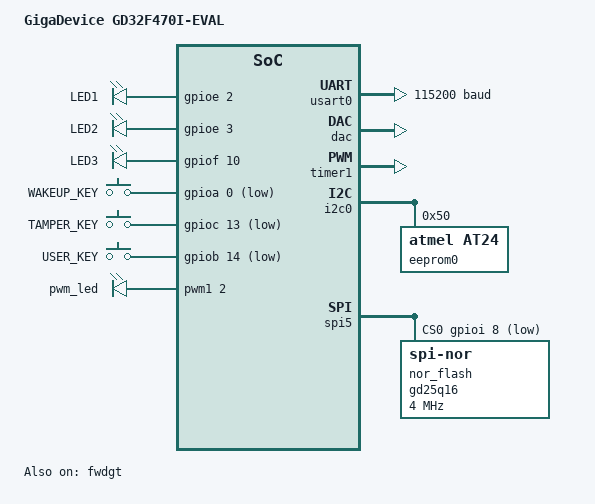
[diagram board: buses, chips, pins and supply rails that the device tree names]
/*
 * Copyright (c) 2022, Rtone.
 * SPDX-License-Identifier: Apache-2.0
 */

/dts-v1/;

#include <gd/gd32f4xx/gd32f470ik.dtsi>
#include "gd32f470i_eval-pinctrl.dtsi"
#include <zephyr/dt-bindings/input/input-event-codes.h>

/ {
	model = "GigaDevice GD32F470I-EVAL";
	compatible = "gd,gd32f470i-eval";

	chosen {
		zephyr,sram = &sram0;
		zephyr,flash = &flash0;
		zephyr,console = &usart0;
		zephyr,shell-uart = &usart0;
		zephyr,flash-controller = &fmc;
	};

	leds {
		compatible = "gpio-leds";
		led1: led1 {
			gpios = <&gpioe 2 GPIO_ACTIVE_HIGH>;
			label = "LED1";
		};
		led2: led2 {
			gpios = <&gpioe 3 GPIO_ACTIVE_HIGH>;
			label = "LED2";
		};
		led3: led3 {
			gpios = <&gpiof 10 GPIO_ACTIVE_HIGH>;
			label = "LED3";
		};
	};

	gpio_keys {
		compatible = "gpio-keys";
		wakeup_key: wakeup_key {
			label = "WAKEUP_KEY";
			gpios = <&gpioa 0 GPIO_ACTIVE_LOW>;
			zephyr,code = <INPUT_KEY_WAKEUP>;
		};
		tamper_key: tamper_key {
			label = "TAMPER_KEY";
			gpios = <&gpioc 13 GPIO_ACTIVE_LOW>;
			zephyr,code = <INPUT_KEY_0>;
		};
		user_key: user_key {
			label = "USER_KEY";
			gpios = <&gpiob 14 GPIO_ACTIVE_LOW>;
			zephyr,code = <INPUT_KEY_1>;
		};
	};

	pwmleds {
		compatible = "pwm-leds";

		/* NOTE: bridge TIMER1_CH2 (PB10) and LED1 (PE2) */
		pwm_led: pwm_led {
			pwms = <&pwm1 2 PWM_MSEC(20) PWM_POLARITY_NORMAL>;
		};
	};

	aliases {
		led0 = &led1;
		led1 = &led2;
		sw0 = &user_key;
		pwm-led0 = &pwm_led;
		eeprom-0 = &eeprom0;
		watchdog0 = &fwdgt;
	};
};

&gpioa {
	status = "okay";
};

&gpiob {
	status = "okay";
};

&gpioc {
	status = "okay";
};

&gpioe {
	status = "okay";
};

&gpiog {
	status = "okay";
};

&gpiof {
	status = "okay";
};

&gpioi {
	status = "okay";
};

&usart0 {
	status = "okay";
	current-speed = <115200>;
	pinctrl-0 = <&usart0_default>;
	pinctrl-names = "default";
};

&dac {
	status = "okay";
	pinctrl-0 = <&dac_default>;
	pinctrl-names = "default";
};

&timer1 {
	status = "okay";

	pwm1: pwm {
		status = "okay";
		pinctrl-0 = <&pwm1_default>;
		pinctrl-names = "default";
	};
};

&i2c0 {
	status = "okay";
	pinctrl-0 = <&i2c0_default>;
	pinctrl-names = "default";

	eeprom0: eeprom@50 {
		compatible = "atmel,at24";
		reg = <0x50>;
		status = "okay";
		size = <256>;
		pagesize = <8>;
		address-width = <8>;
		timeout = <5>;
	};
};

&spi5 {
	status = "okay";
	pinctrl-0 = <&spi5_default>;
	pinctrl-names = "default";
	cs-gpios = <&gpioi 8 GPIO_ACTIVE_LOW>;

	nor_flash: gd25q16@0 {
		compatible ="jedec,spi-nor";
		size = <0x1000000>;
		reg = <0>;
		spi-max-frequency = <4000000>;
		status = "okay";
		jedec-id = [c8 40 15];
	};
};

&fwdgt {
	status = "okay";
};
